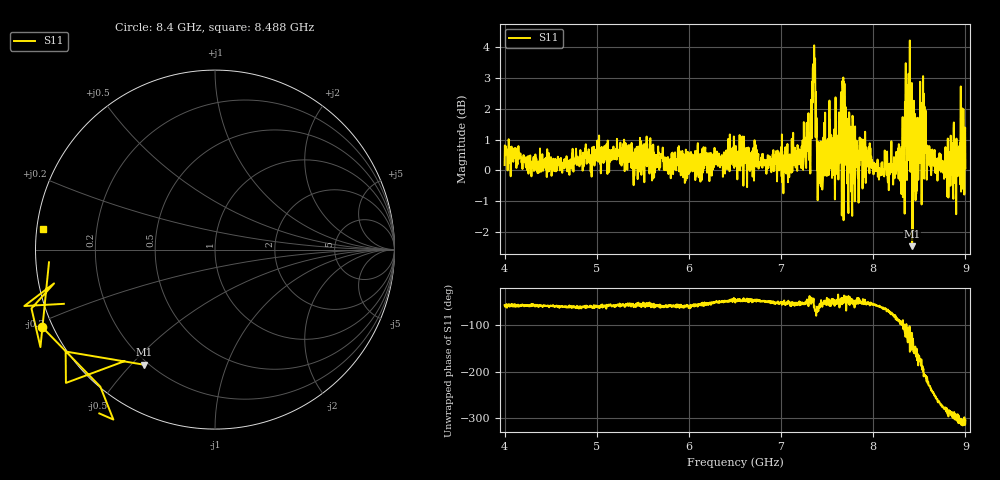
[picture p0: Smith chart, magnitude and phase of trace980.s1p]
! Created with skrf 1.8.0 (http://scikit-rf.org).
# Hz S RI R 50.0
!freq ReS11 ImS11
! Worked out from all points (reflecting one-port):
!   1601 points, 4 GHz to 9 GHz, reference 50 ohm
!   lowest |S11| = -2.5 dB at 8.422 GHz (marker M1), VSWR 7.12, Z = 9.16 - j27.2 ohm
!   phase of S11 starts at -57 deg and turns -249 deg over the sweep
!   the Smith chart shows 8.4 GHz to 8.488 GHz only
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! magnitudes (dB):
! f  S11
! 4 GHz  0.2
! 4.625 GHz  -0.1
! 5.25 GHz  0.3
! 5.875 GHz  0.3
! 6.5 GHz  0.2
! 7.125 GHz  0.3
! 7.294 GHz  1.1
! 7.353 GHz  3.4
! 7.369 GHz  3.6
! 7.397 GHz  -1.0
! 7.416 GHz  -0.4
! 7.519 GHz  1.1
! 7.609 GHz  -0.1
! 7.669 GHz  2.6
! 7.691 GHz  1.6
! 7.703 GHz  2.1
! 7.75 GHz  0.4
! 8.316 GHz  0.7
! 8.375 GHz  1.3
! 8.422 GHz  -2.5
! 8.447 GHz  1.6
! 8.459 GHz  -1.0
! 8.522 GHz  1.9
! 8.606 GHz  0.3
! 8.7 GHz  0.1
! 8.903 GHz  1.0
! 8.953 GHz  -0.7
! 9 GHz  0.1
